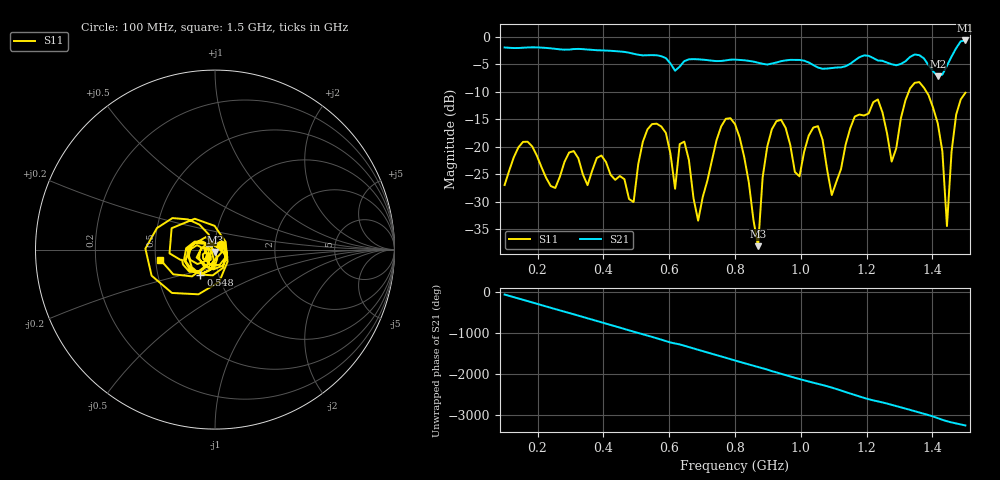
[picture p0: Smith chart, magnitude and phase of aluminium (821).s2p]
! NanoVNA-App
! Date: 2025-09-25 15:01:40
! Start: 100MHz Stop: 1,5GHz Points: 101
! S-Parameter data: F S11 S21 S12 S22
# Hz S RI R 50
!  Frequency  S11_Real  S11_Imag  S21_Real  S21_Imag  S12_Real  S12_Imag  S22_Real  S22_Imag
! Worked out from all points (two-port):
!   101 points, 100 MHz to 1.5 GHz, reference 50 ohm
!   highest |S21| = -0.65 dB at 1.5 GHz (marker M1); lowest = -7.1 dB at 1.416 GHz (marker M2)
!   |S21| within 3 dB of the highest: start of sweep to 581.4 MHz; 1.457 GHz to end of sweep (the widest 2 of 4)
!   lowest |S11| = -38.1 dB at 870 MHz (marker M3), VSWR 1.03, Z = 50 - j1.25 ohm
!   |S11| at or under -10 dB: start of sweep to 1.328 GHz; 1.382 GHz to end of sweep
!   S12 and S22 are empty: the file has one direction only
!   S11 on the Smith chart (normalised r, x): 100 MHz: 1.07, +0.06; 548 MHz: 0.82, -0.23; 1.5 GHz: 0.53, -0.07
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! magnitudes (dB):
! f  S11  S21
! 100 MHz  -27.0  -1.9
! 156 MHz  -19.1  -2.0
! 338 MHz  -25.1  -2.2
! 492 MHz  -30.0  -3.1
! 548 MHz  -15.9  -3.3
! 576 MHz  -16.3  -3.5
! 618 MHz  -27.6  -6.2
! 646 MHz  -19.1  -4.4
! 688 MHz  -33.4  -4.1
! 800 MHz  -15.9  -4.1
! 870 MHz  -38.1  -4.7
! 912 MHz  -16.8  -4.8
! 996 MHz  -25.4  -4.2
! 1.038 GHz  -16.5  -5.1
! 1.094 GHz  -28.8  -5.7
! 1.234 GHz  -11.4  -4.3
! 1.276 GHz  -22.7  -5.0
! 1.346 GHz  -8.4  -3.2
! 1.416 GHz  -15.7  -7.1
! 1.444 GHz  -34.4  -5.2
! 1.472 GHz  -14.1  -2.1
! 1.5 GHz  -10.2  -0.6
